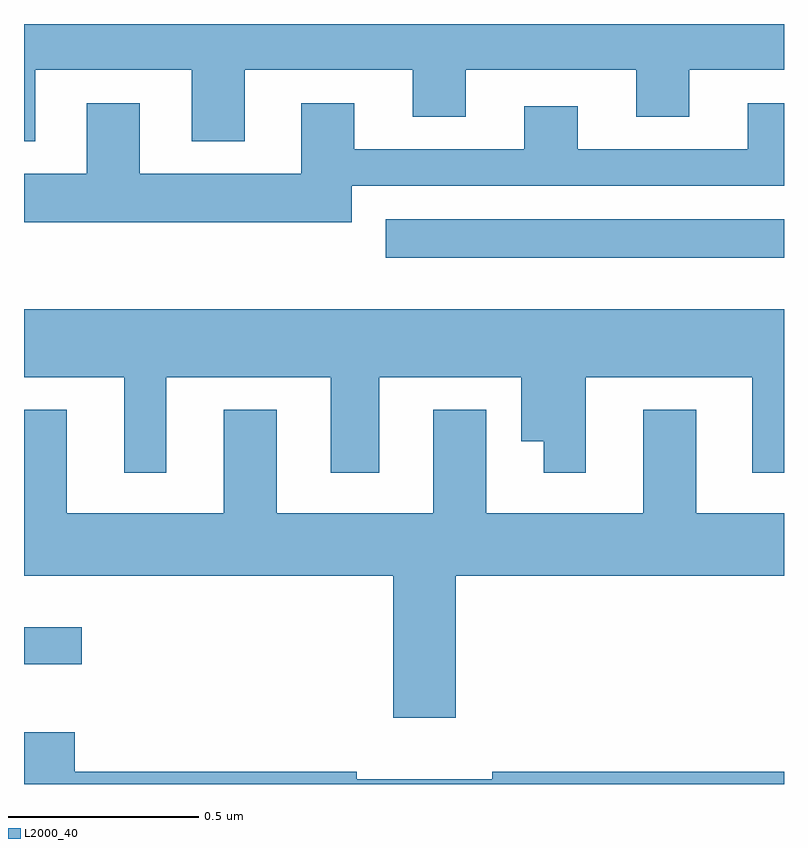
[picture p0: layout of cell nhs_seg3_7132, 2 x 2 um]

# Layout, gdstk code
import gdstk
lib = gdstk.Library(unit=1e-6, precision=1e-09)
def R(c, l, rs):  # rectangles x0, y0, x1, y1
    for r in rs: c.add(gdstk.rectangle(r[:2], r[2:], *l))
def P(c, l, *ps):  # polygons
    for p in ps: c.add(gdstk.Polygon(p, *l))
L2000_40 = (2000, 40)

nhs_seg3_7132 = lib.new_cell('nhs_seg3_7132')
R(nhs_seg3_7132, L2000_40, [(200,668.715,200.152,668.812), (200.952,669.785,202,669.886)])
P(nhs_seg3_7132, L2000_40, [(200.029,670.28),(200.441,670.28),(200.441,670.091),(200.581,670.091),(200.581,670.28),(201.023,670.28),(201.023,670.156),(201.163,670.156),(201.163,670.28),(201.611,670.28),(201.611,670.156),(201.751,670.156),(201.751,670.28),(202,670.28),(202,670.4),(200,670.4),(200,670.091),(200.029,670.091)],
  [(200.863,669.975),(202,669.975),(202,670.192),(201.905,670.192),(201.905,670.071),(201.457,670.071),(201.457,670.183),(201.317,670.183),(201.317,670.071),(200.869,670.071),(200.869,670.192),(200.729,670.192),(200.729,670.006),(200.305,670.006),(200.305,670.192),(200.165,670.192),(200.165,670.006),(200,670.006),(200,669.878),(200.863,669.878)],
  [(200.374,669.47),(200.807,669.47),(200.807,669.219),(200.935,669.219),(200.935,669.47),(201.308,669.47),(201.308,669.302),(201.368,669.302),(201.368,669.219),(201.478,669.219),(201.478,669.47),(201.917,669.47),(201.917,669.219),(202,669.219),(202,669.649),(200,669.649),(200,669.47),(200.264,669.47),(200.264,669.219),(200.374,669.219)],
  [(201.136,668.948),(202,668.948),(202,669.112),(201.769,669.112),(201.769,669.385),(201.629,669.385),(201.629,669.112),(201.217,669.112),(201.217,669.385),(201.077,669.385),(201.077,669.112),(200.665,669.112),(200.665,669.385),(200.525,669.385),(200.525,669.112),(200.113,669.112),(200.113,669.385),(200,669.385),(200,668.948),(200.972,668.948),(200.972,668.574),(201.136,668.574)],
  [(202,668.432),(201.232,668.432),(201.232,668.413),(200.876,668.413),(200.876,668.432),(200.134,668.432),(200.134,668.536),(200,668.536),(200,668.4),(202,668.4)])

lib.write_gds('nhs_seg3_7132.gds')
